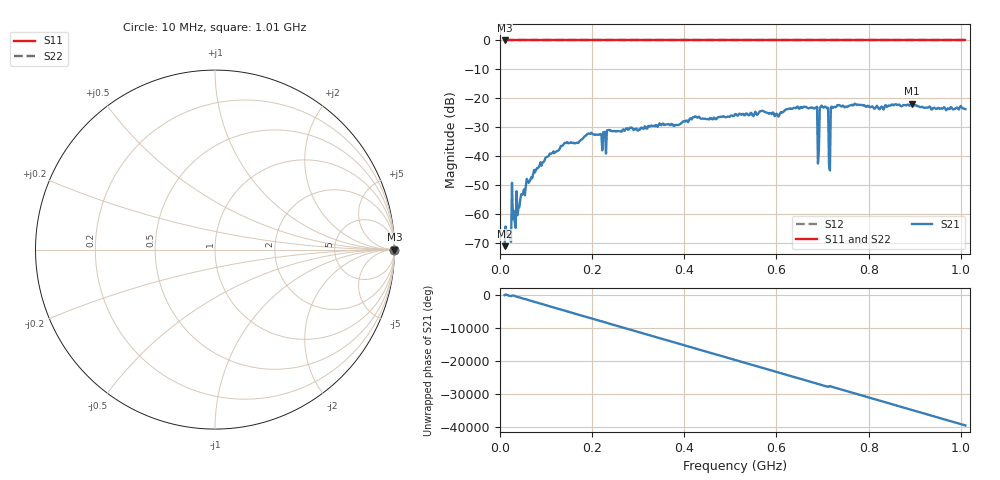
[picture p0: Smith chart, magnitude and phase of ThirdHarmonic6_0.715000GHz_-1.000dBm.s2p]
! 8/15/2025 11:54:45 PM
! C:\ANRITSUVNA\TEMP\TEMP.S2P
! CHANNEL.1
! TR.MEASUREMENT
! RAW.DATA
! RF.CORRECTION.OFF
! AVERAGING.OFF
! IF.BANDWIDTH: 5KHZ
! SWEEPTYPE:  FREQ.SWEEP(Linear)
! Reference Plane Port Info
! PORT:  PORT1  PORT2
! DISTANCE:  0  m  0  m
! TIME:  0  s  0  s
! PHASE.OFFSET:  0  deg.  0  deg.
! LOSS:  0  dB  0  dB
! REF.LOSS:  0  dB  0  dB
! REF.FREQ:  0  Hz  0  Hz
! Power Info
! POWER:  -20  dBm  -20  dBm
! EFF.POWER:  -20  dBm  -20  dBm
! SOURCE.ATTEN:  0  dB  0  dB
! TEST.ATTEN:  0  dB  0  dB
# GHZ S RI R 50.0
! FREQ.GHZ  S11RE  S11IM  S21RE  S21IM  S12RE  S12IM  S22RE  S22IM
!; PortSelection: Port_12
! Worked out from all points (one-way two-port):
!   501 points, 10 MHz to 1.01 GHz, reference 50 ohm
!   highest |S21| = -21.86 dB at 894 MHz (marker M1); lowest = -71.2 dB at 10 MHz (marker M2)
!   lowest |S11| = 0.0 dB at 10 MHz (marker M3)
!   |S11| at or under -10 dB: nowhere
!   |S22| runs from 0.0 to 0.0 dB; largest |S21 - S12| = 1.1
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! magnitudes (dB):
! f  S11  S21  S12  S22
! 10 MHz  0.0  -71.2  0.0  0.0
! 20 MHz  0.0  -66.9  0.0  0.0
! 30 MHz  0.0  -59.0  0.0  0.0
! 36 MHz  0.0  -52.2  0.0  0.0
! 76 MHz  0.0  -45.7  0.0  0.0
! 142 MHz  0.0  -35.5  0.0  0.0
! 178 MHz  0.0  -34.3  0.0  0.0
! 344 MHz  0.0  -29.2  0.0  0.0
! 510 MHz  0.0  -25.5  0.0  0.0
! 678 MHz  0.0  -23.2  0.0  0.0
! 684 MHz  0.0  -23.3  0.0  0.0
! 688 MHz  0.0  -22.9  0.0  0.0
! 694 MHz  0.0  -23.2  0.0  0.0
! 698 MHz  0.0  -22.6  0.0  0.0
! 708 MHz  0.0  -23.2  0.0  0.0
! 712 MHz  0.0  -23.3  0.0  0.0
! 714 MHz  0.0  -43.0  0.0  0.0
! 718 MHz  0.0  -23.2  0.0  0.0
! 722 MHz  0.0  -23.4  0.0  0.0
! 844 MHz  0.0  -22.5  0.0  0.0
! 894 MHz  0.0  -21.9  0.0  0.0
! 1.01 GHz  0.0  -23.8  0.0  0.0
